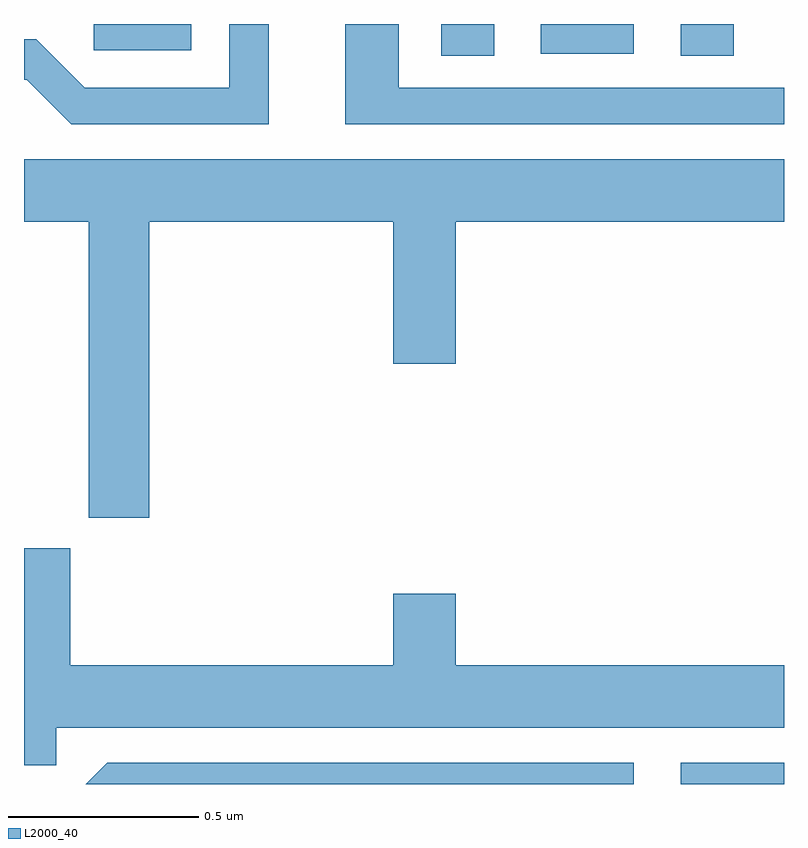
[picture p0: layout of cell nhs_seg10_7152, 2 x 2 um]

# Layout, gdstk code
import gdstk
lib = gdstk.Library(unit=1e-6, precision=1e-09)
def R(c, l, rs):  # rectangles x0, y0, x1, y1
    for r in rs: c.add(gdstk.rectangle(r[:2], r[2:], *l))
def P(c, l, *ps):  # polygons
    for p in ps: c.add(gdstk.Polygon(p, *l))
L2000_40 = (2000, 40)

nhs_seg10_7152 = lib.new_cell('nhs_seg10_7152')
R(nhs_seg10_7152, L2000_40, [(201.728,1301.5,202,1301.556), (201.098,1303.417,201.238,1303.5), (201.728,1303.417,201.868,1303.5), (201.36,1303.422,201.604,1303.5), (200.184,1303.431,200.44,1303.5)])
P(nhs_seg10_7152, L2000_40, [(200.644,1303.5),(200.54,1303.5),(200.54,1303.332),(200.16,1303.332),(200.032,1303.46),(200,1303.46),(200,1303.353),(200.007,1303.353),(200.124,1303.236),(200.644,1303.236)],
  [(202,1303.332),(200.986,1303.332),(200.986,1303.5),(200.846,1303.5),(200.846,1303.236),(202,1303.236)],
  [(200.33,1302.98),(200.972,1302.98),(200.972,1302.606),(201.136,1302.606),(201.136,1302.98),(202,1302.98),(202,1303.144),(200,1303.144),(200,1302.98),(200.17,1302.98),(200.17,1302.201),(200.33,1302.201)],
  [(200.085,1301.648),(202,1301.648),(202,1301.812),(201.136,1301.812),(201.136,1302.001),(200.972,1302.001),(200.972,1301.812),(200.122,1301.812),(200.122,1302.121),(200,1302.121),(200,1301.55),(200.085,1301.55)],
  [(201.604,1301.556),(200.219,1301.556),(200.163,1301.5),(201.604,1301.5)])

lib.write_gds('nhs_seg10_7152.gds')
